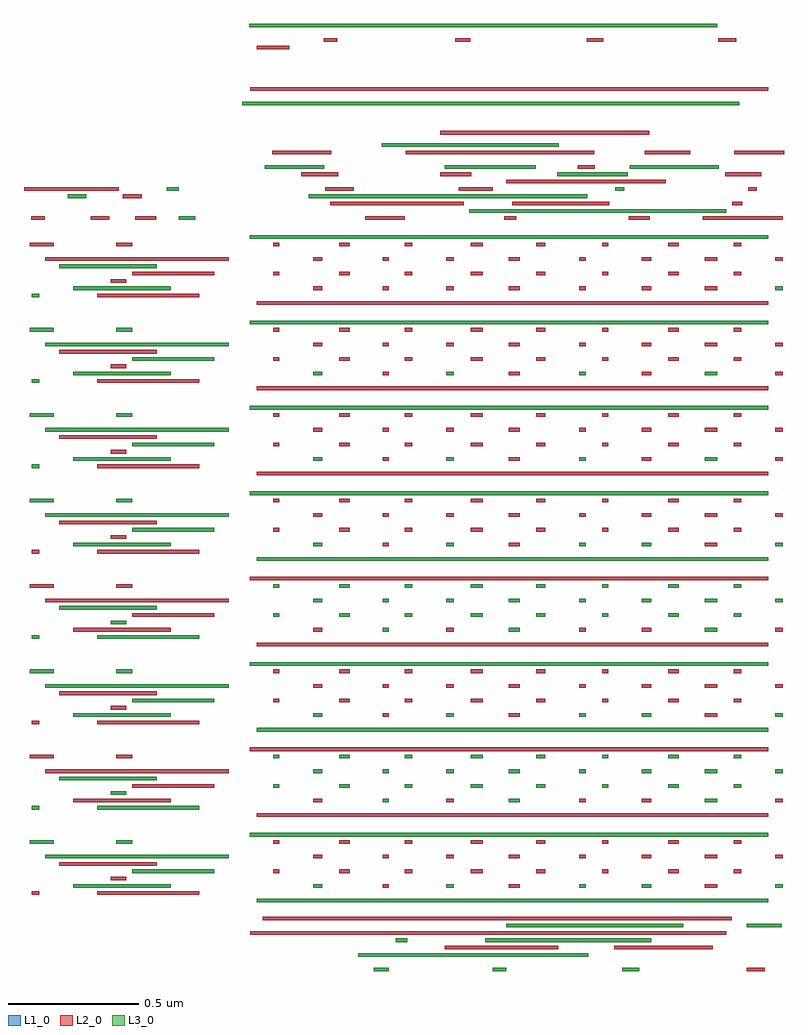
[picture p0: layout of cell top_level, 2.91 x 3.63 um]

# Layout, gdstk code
import gdstk
lib = gdstk.Library(unit=1e-6, precision=5e-10)
def R(c, l, rs):  # rectangles x0, y0, x1, y1
    for r in rs: c.add(gdstk.rectangle(r[:2], r[2:], *l))
def A(c, l, x, y, w, h, nx, ny, dx, dy):  # array of equal rectangles
    R(c, l, [(x+i*dx, y+j*dy, x+i*dx+w, y+j*dy+h) for i in range(nx) for j in range(ny)])
def P(c, l, *ps):  # polygons
    for p in ps: c.add(gdstk.Polygon(p, *l))
L1_0 = (1, 0)
L2_0 = (2, 0)
L3_0 = (3, 0)

vcell_hold_vcellr1_1r = lib.new_cell('VCELL_HOLD_VCELLR1_1R')
A(vcell_hold_vcellr1_1r, L1_0, 0.186, -0.2495, 0.02, 0.014, 4, 2, 0.252, 0.112)
A(vcell_hold_vcellr1_1r, L1_0, 0.018, -0.1935, 0.02, 0.014, 4, 2, 0.252, 0.112)
R(vcell_hold_vcellr1_1r, L1_0, [(0,-0.3055,0.906,-0.2915), (0,-0.0535,0.906,-0.0395)])

vcell_hold_vcellr4_1r = lib.new_cell('VCELL_HOLD_VCELLR4_1R')
vcell_hold_vcellr4_1r.add(gdstk.Reference(vcell_hold_vcellr1_1r, (0,-0.327)))
vcell_hold_vcellr4_1r.add(gdstk.Reference(vcell_hold_vcellr1_1r, (0,0)))

top_level = lib.new_cell('top_level')
A(top_level, L1_0, 0.101, 0.376, 0.0275, 0.014, 1, 8, 0, 0.327)
A(top_level, L1_0, 0.3525, 0.376, 0.389, 0.014, 1, 8, 0, 0.327)
A(top_level, L1_0, 0.2605, 0.404, 0.373, 0.014, 1, 8, 0, 0.327)
A(top_level, L1_0, 0.404, 0.432, 0.0595, 0.014, 1, 8, 0, 0.327)
A(top_level, L1_0, 0.486, 0.46, 0.314, 0.014, 1, 8, 0, 0.327)
A(top_level, L1_0, 0.206, 0.488, 0.374, 0.014, 1, 8, 0, 0.327)
A(top_level, L1_0, 0.152, 0.516, 0.7035, 0.014, 1, 8, 0, 0.327)
A(top_level, L1_0, 0.0925, 0.572, 0.0915, 0.014, 1, 8, 0, 0.327)
A(top_level, L1_0, 0.4245, 0.572, 0.062, 0.014, 1, 8, 0, 0.327)
R(top_level, L1_0, [(1.411,0.0835,1.468,0.0975), (1.866,0.0835,1.918,0.0975), (2.363,0.0835,2.428,0.0975), (2.839,0.0835,2.908,0.0975), (1.3515,0.1395,2.2315,0.1535), (1.682,0.1675,2.1175,0.1815), (2.3315,0.1675,2.71,0.1815), (1.495,0.1955,1.538,0.2095), (1.837,0.1955,2.474,0.2095), (0.938,0.2235,2.76,0.2375), (1.918,0.2515,2.5955,0.2655), (2.84,0.2515,2.9735,0.2655), (0.985,0.2795,2.782,0.2935), (1.914,0.348,2.016,0.362), (1.178,0.404,1.198,0.418), (1.448,0.404,1.468,0.418), (1.688,0.404,1.708,0.418), (1.928,0.404,1.97,0.418), (2.198,0.404,2.218,0.418), (2.438,0.404,2.458,0.418), (2.678,0.404,2.726,0.418), (2.948,0.404,2.968,0.418), (1.028,0.46,1.048,0.474), (1.298,0.46,1.318,0.474), (1.538,0.46,1.558,0.474), (1.782,0.46,1.828,0.474), (2.048,0.46,2.068,0.474), (2.288,0.46,2.308,0.474), (2.558,0.46,2.578,0.474), (2.798,0.46,2.818,0.474), (1.178,0.516,1.198,0.53), (1.448,0.516,1.468,0.53), (1.688,0.516,1.708,0.53), (1.928,0.516,1.97,0.53), (2.198,0.516,2.218,0.53), (2.438,0.516,2.458,0.53), (2.678,0.516,2.726,0.53), (2.948,0.516,2.968,0.53), (1.028,0.572,1.048,0.586), (1.298,0.572,1.318,0.586), (1.538,0.572,1.558,0.586), (1.782,0.572,1.828,0.586), (2.048,0.572,2.068,0.586), (2.288,0.572,2.308,0.586), (2.558,0.572,2.578,0.586), (2.798,0.572,2.818,0.586), (1.914,0.6,2.016,0.614), (1.914,0.675,2.016,0.689), (1.178,0.731,1.198,0.745), (1.448,0.731,1.468,0.745), (1.688,0.731,1.708,0.745), (1.928,0.731,1.97,0.745), (2.198,0.731,2.218,0.745), (2.438,0.731,2.458,0.745), (2.678,0.731,2.726,0.745), (2.948,0.731,2.968,0.745), (1.028,0.787,1.048,0.801), (1.298,0.787,1.318,0.801), (1.538,0.787,1.558,0.801), (1.782,0.787,1.828,0.801), (2.048,0.787,2.068,0.801), (2.288,0.787,2.308,0.801), (2.558,0.787,2.578,0.801), (2.798,0.787,2.818,0.801), (1.178,0.843,1.198,0.857), (1.448,0.843,1.468,0.857), (1.688,0.843,1.708,0.857), (1.928,0.843,1.97,0.857), (2.198,0.843,2.218,0.857), (2.438,0.843,2.458,0.857), (2.678,0.843,2.726,0.857), (2.948,0.843,2.968,0.857), (1.028,0.899,1.048,0.913), (1.298,0.899,1.318,0.913), (1.538,0.899,1.558,0.913), (1.782,0.899,1.828,0.913), (2.048,0.899,2.068,0.913), (2.288,0.899,2.308,0.913), (2.558,0.899,2.578,0.913), (2.798,0.899,2.818,0.913), (1.914,0.927,2.016,0.941), (1.914,1.002,2.016,1.016), (1.178,1.058,1.198,1.072), (1.448,1.058,1.468,1.072), (1.688,1.058,1.708,1.072), (1.928,1.058,1.97,1.072), (2.198,1.058,2.218,1.072), (2.438,1.058,2.458,1.072), (2.678,1.058,2.726,1.072), (2.948,1.058,2.968,1.072), (1.028,1.114,1.048,1.128), (1.298,1.114,1.318,1.128), (1.538,1.114,1.558,1.128), (1.782,1.114,1.828,1.128), (2.048,1.114,2.068,1.128), (2.288,1.114,2.308,1.128), (2.558,1.114,2.578,1.128), (2.798,1.114,2.818,1.128), (1.178,1.17,1.198,1.184), (1.448,1.17,1.468,1.184), (1.688,1.17,1.708,1.184), (1.928,1.17,1.97,1.184), (2.198,1.17,2.218,1.184), (2.438,1.17,2.458,1.184), (2.678,1.17,2.726,1.184), (2.948,1.17,2.968,1.184), (1.028,1.226,1.048,1.24), (1.298,1.226,1.318,1.24), (1.538,1.226,1.558,1.24), (1.782,1.226,1.828,1.24), (2.048,1.226,2.068,1.24), (2.288,1.226,2.308,1.24), (2.558,1.226,2.578,1.24), (2.798,1.226,2.818,1.24), (1.914,1.254,2.016,1.268), (1.914,1.329,2.016,1.343), (1.178,1.385,1.198,1.399), (1.448,1.385,1.468,1.399), (1.688,1.385,1.708,1.399), (1.928,1.385,1.97,1.399), (2.198,1.385,2.218,1.399), (2.438,1.385,2.458,1.399), (2.678,1.385,2.726,1.399), (2.948,1.385,2.968,1.399), (1.028,1.441,1.048,1.455), (1.298,1.441,1.318,1.455), (1.538,1.441,1.558,1.455), (1.782,1.441,1.828,1.455), (2.048,1.441,2.068,1.455), (2.288,1.441,2.308,1.455), (2.558,1.441,2.578,1.455), (2.798,1.441,2.818,1.455), (1.178,1.497,1.198,1.511), (1.448,1.497,1.468,1.511), (1.688,1.497,1.708,1.511), (1.928,1.497,1.97,1.511), (2.198,1.497,2.218,1.511), (2.438,1.497,2.458,1.511), (2.678,1.497,2.726,1.511), (2.948,1.497,2.968,1.511), (1.028,1.553,1.048,1.567), (1.298,1.553,1.318,1.567), (1.538,1.553,1.558,1.567), (1.782,1.553,1.828,1.567), (2.048,1.553,2.068,1.567), (2.288,1.553,2.308,1.567), (2.558,1.553,2.578,1.567), (2.798,1.553,2.818,1.567), (1.914,1.581,2.016,1.595), (1.914,1.656,2.016,1.67), (1.178,1.712,1.198,1.726), (1.448,1.712,1.468,1.726), (1.688,1.712,1.708,1.726), (1.928,1.712,1.97,1.726), (2.198,1.712,2.218,1.726), (2.438,1.712,2.458,1.726), (2.678,1.712,2.726,1.726), (2.948,1.712,2.968,1.726), (1.028,1.768,1.048,1.782), (1.298,1.768,1.318,1.782), (1.538,1.768,1.558,1.782), (1.782,1.768,1.828,1.782), (2.048,1.768,2.068,1.782), (2.288,1.768,2.308,1.782), (2.558,1.768,2.578,1.782), (2.798,1.768,2.818,1.782), (1.178,1.824,1.198,1.838), (1.448,1.824,1.468,1.838), (1.688,1.824,1.708,1.838), (1.928,1.824,1.97,1.838), (2.198,1.824,2.218,1.838), (2.438,1.824,2.458,1.838), (2.678,1.824,2.726,1.838), (2.948,1.824,2.968,1.838), (1.028,1.88,1.048,1.894), (1.298,1.88,1.318,1.894), (1.538,1.88,1.558,1.894), (1.782,1.88,1.828,1.894), (2.048,1.88,2.068,1.894), (2.288,1.88,2.308,1.894), (2.558,1.88,2.578,1.894), (2.798,1.88,2.818,1.894), (1.914,1.908,2.016,1.922), (1.914,1.983,2.016,1.997), (1.178,2.039,1.198,2.053), (1.448,2.039,1.468,2.053), (1.688,2.039,1.708,2.053), (1.928,2.039,1.97,2.053), (2.198,2.039,2.218,2.053), (2.438,2.039,2.458,2.053), (2.678,2.039,2.726,2.053), (2.948,2.039,2.968,2.053), (1.028,2.095,1.048,2.109), (1.298,2.095,1.318,2.109), (1.538,2.095,1.558,2.109), (1.782,2.095,1.828,2.109), (2.048,2.095,2.068,2.109), (2.288,2.095,2.308,2.109), (2.558,2.095,2.578,2.109), (2.798,2.095,2.818,2.109), (1.178,2.151,1.198,2.165), (1.448,2.151,1.468,2.165), (1.688,2.151,1.708,2.165), (1.928,2.151,1.97,2.165), (2.198,2.151,2.218,2.165), (2.438,2.151,2.458,2.165), (2.678,2.151,2.726,2.165), (2.948,2.151,2.968,2.165), (1.028,2.207,1.048,2.221), (1.298,2.207,1.318,2.221), (1.538,2.207,1.558,2.221), (1.782,2.207,1.828,2.221), (2.048,2.207,2.068,2.221), (2.288,2.207,2.308,2.221), (2.558,2.207,2.578,2.221), (2.798,2.207,2.818,2.221), (1.914,2.235,2.016,2.249), (1.914,2.31,2.016,2.324), (1.178,2.366,1.198,2.38), (1.448,2.366,1.468,2.38), (1.688,2.366,1.708,2.38), (1.928,2.366,1.97,2.38), (2.198,2.366,2.218,2.38), (2.438,2.366,2.458,2.38), (2.678,2.366,2.726,2.38), (2.948,2.366,2.968,2.38), (1.028,2.422,1.048,2.436), (1.298,2.422,1.318,2.436), (1.538,2.422,1.558,2.436), (1.782,2.422,1.828,2.436), (2.048,2.422,2.068,2.436), (2.288,2.422,2.308,2.436), (2.558,2.422,2.578,2.436), (2.798,2.422,2.818,2.436), (1.178,2.478,1.198,2.492), (1.448,2.478,1.468,2.492), (1.688,2.478,1.708,2.492), (1.928,2.478,1.97,2.492), (2.198,2.478,2.218,2.492), (2.438,2.478,2.458,2.492), (2.678,2.478,2.726,2.492), (2.948,2.478,2.968,2.492), (1.028,2.534,1.048,2.548), (1.298,2.534,1.318,2.548), (1.538,2.534,1.558,2.548), (1.782,2.534,1.828,2.548), (2.048,2.534,2.068,2.548), (2.288,2.534,2.308,2.548), (2.558,2.534,2.578,2.548), (2.798,2.534,2.818,2.548), (1.914,2.562,2.016,2.576), (1.914,2.637,2.016,2.651), (1.178,2.693,1.198,2.707), (1.448,2.693,1.468,2.707), (1.688,2.693,1.708,2.707), (1.928,2.693,1.97,2.707), (2.198,2.693,2.218,2.707), (2.438,2.693,2.458,2.707), (2.678,2.693,2.726,2.707), (2.948,2.693,2.968,2.707), (1.028,2.749,1.048,2.763), (1.298,2.749,1.318,2.763), (1.538,2.749,1.558,2.763), (1.782,2.749,1.828,2.763), (2.048,2.749,2.068,2.763), (2.288,2.749,2.308,2.763), (2.558,2.749,2.578,2.763), (2.798,2.749,2.818,2.763), (1.178,2.805,1.198,2.819), (1.448,2.805,1.468,2.819), (1.688,2.805,1.708,2.819), (1.928,2.805,1.97,2.819), (2.198,2.805,2.218,2.819), (2.438,2.805,2.458,2.819), (2.678,2.805,2.726,2.819), (2.948,2.805,2.968,2.819), (1.028,2.861,1.048,2.875), (1.298,2.861,1.318,2.875), (1.538,2.861,1.558,2.875), (1.782,2.861,1.828,2.875), (2.048,2.861,2.068,2.875), (2.288,2.861,2.308,2.875), (2.558,2.861,2.578,2.875), (2.798,2.861,2.818,2.875), (1.914,2.889,2.016,2.903), (0.0985,2.9615,0.15,2.9755), (0.326,2.9615,0.3975,2.9755), (0.4965,2.9615,0.5775,2.9755), (0.6645,2.9615,0.7275,2.9755), (1.379,2.9615,1.5295,2.9755), (1.911,2.9615,1.957,2.9755), (2.387,2.9615,2.467,2.9755), (2.671,2.9615,2.977,2.9755), (1.776,2.9895,2.7605,3.0035), (1.244,3.0175,1.755,3.0315), (1.942,3.0175,2.3125,3.0315), (2.784,3.0175,2.8225,3.0315), (0.239,3.0455,0.3085,3.0595), (0.449,3.0455,0.522,3.0595), (1.1625,3.0455,2.2275,3.0595), (0.071,3.0735,0.433,3.0875), (0.617,3.0735,0.664,3.0875), (1.2255,3.0735,1.334,3.0875), (1.7355,3.0735,1.866,3.0875), (2.3355,3.0735,2.37,3.0875), (2.8455,3.0735,2.878,3.0875), (1.919,3.1015,2.53,3.1155), (1.133,3.1295,1.274,3.1435), (1.665,3.1295,1.784,3.1435), (2.113,3.1295,2.384,3.1435), (2.757,3.1295,2.894,3.1435), (0.9925,3.1575,1.221,3.1715), (1.6825,3.1575,2.0305,3.1715), (2.1925,3.1575,2.257,3.1715), (2.3915,3.1575,2.733,3.1715), (1.0225,3.2135,1.248,3.2275), (1.5325,3.2135,2.2555,3.2275), (2.4485,3.2135,2.6235,3.2275), (2.7905,3.2135,2.982,3.2275), (1.4415,3.2415,2.1195,3.2555), (1.6645,3.2885,2.4665,3.3025), (0.9065,3.4005,2.81,3.4145), (0.9375,3.4565,2.922,3.4705), (0.963,3.6155,1.0865,3.6295), (1.219,3.6435,1.27,3.6575), (1.723,3.6435,1.78,3.6575), (2.227,3.6435,2.29,3.6575), (2.731,3.6435,2.8,3.6575), (0.9345,3.6995,2.726,3.7135)])
P(top_level, L1_0, [(1.0305,2.903),(1.0305,2.896),(1.008,2.896),(1.008,2.889),(0.9365,2.889),(0.9365,2.903)],
  [(1.0305,2.651),(1.0305,2.644),(1.008,2.644),(1.008,2.637),(0.963,2.637),(0.963,2.651)],
  [(1.0305,2.576),(1.0305,2.569),(1.008,2.569),(1.008,2.562),(0.9365,2.562),(0.9365,2.576)],
  [(1.0305,2.324),(1.0305,2.317),(1.008,2.317),(1.008,2.31),(0.963,2.31),(0.963,2.324)],
  [(1.0305,1.997),(1.0305,1.99),(1.008,1.99),(1.008,1.983),(0.963,1.983),(0.963,1.997)],
  [(1.0305,2.249),(1.0305,2.242),(1.008,2.242),(1.008,2.235),(0.9365,2.235),(0.9365,2.249)],
  [(1.0305,1.922),(1.0305,1.915),(1.008,1.915),(1.008,1.908),(0.9365,1.908),(0.9365,1.922)],
  [(1.0305,1.67),(1.0305,1.663),(1.008,1.663),(1.008,1.656),(0.963,1.656),(0.963,1.67)],
  [(1.0305,1.595),(1.0305,1.588),(1.008,1.588),(1.008,1.581),(0.9365,1.581),(0.9365,1.595)],
  [(1.0305,1.343),(1.0305,1.336),(1.008,1.336),(1.008,1.329),(0.963,1.329),(0.963,1.343)],
  [(1.0305,1.016),(1.0305,1.009),(1.008,1.009),(1.008,1.002),(0.963,1.002),(0.963,1.016)],
  [(1.0305,1.268),(1.0305,1.261),(1.008,1.261),(1.008,1.254),(0.9365,1.254),(0.9365,1.268)],
  [(1.0305,0.689),(1.0305,0.682),(1.008,0.682),(1.008,0.675),(0.963,0.675),(0.963,0.689)],
  [(1.0305,0.941),(1.0305,0.934),(1.008,0.934),(1.008,0.927),(0.9365,0.927),(0.9365,0.941)],
  [(1.0305,0.614),(1.0305,0.607),(1.008,0.607),(1.008,0.6),(0.9365,0.6),(0.9365,0.614)],
  [(1.0305,0.362),(1.0305,0.355),(1.008,0.355),(1.008,0.348),(0.963,0.348),(0.963,0.362)])
A(top_level, L2_0, 0.101, 0.376, 0.0275, 0.014, 1, 3, 0, 0.654)
A(top_level, L2_0, 0.3525, 0.376, 0.389, 0.014, 1, 3, 0, 0.654)
A(top_level, L2_0, 0.404, 0.432, 0.0595, 0.014, 1, 3, 0, 0.654)
A(top_level, L2_0, 0.206, 0.488, 0.374, 0.014, 1, 3, 0, 0.654)
A(top_level, L2_0, 0.963, 0.675, 1.959, 0.014, 1, 3, 0, 0.654)
A(top_level, L2_0, 1.178, 1.824, 0.036, 0.014, 1, 3, 0, 0.327)
A(top_level, L2_0, 1.688, 1.824, 0.03, 0.014, 1, 3, 0, 0.327)
A(top_level, L2_0, 2.198, 1.824, 0.024, 0.014, 1, 3, 0, 0.327)
A(top_level, L2_0, 2.678, 1.824, 0.048, 0.014, 1, 3, 0, 0.327)
A(top_level, L2_0, 0.3525, 2.011, 0.389, 0.014, 1, 3, 0, 0.327)
A(top_level, L2_0, 0.404, 2.067, 0.0595, 0.014, 1, 3, 0, 0.327)
R(top_level, L2_0, [(2.839,0.0835,2.908,0.0975), (1.682,0.1675,2.1175,0.1815), (2.3315,0.1675,2.71,0.1815), (0.938,0.2235,2.76,0.2375), (0.985,0.2795,2.782,0.2935), (1.446,0.404,1.468,0.418), (1.928,0.404,1.97,0.418), (2.678,0.404,2.726,0.418), (1.026,0.46,1.048,0.474), (1.278,0.46,1.318,0.474), (1.53,0.46,1.558,0.474), (1.782,0.46,1.828,0.474), (2.034,0.46,2.068,0.474), (2.286,0.46,2.308,0.474), (2.538,0.46,2.578,0.474), (2.79,0.46,2.818,0.474), (1.178,0.516,1.214,0.53), (1.446,0.516,1.468,0.53), (1.688,0.516,1.718,0.53), (1.928,0.516,1.97,0.53), (2.198,0.516,2.222,0.53), (2.438,0.516,2.474,0.53), (2.678,0.516,2.726,0.53), (2.948,0.516,2.978,0.53), (1.026,0.572,1.048,0.586), (1.278,0.572,1.318,0.586), (1.53,0.572,1.558,0.586), (1.782,0.572,1.828,0.586), (2.034,0.572,2.068,0.586), (2.286,0.572,2.308,0.586), (2.538,0.572,2.578,0.586), (2.79,0.572,2.818,0.586), (0.2605,0.731,0.6335,0.745), (1.178,0.731,1.214,0.745), (1.688,0.731,1.718,0.745), (2.198,0.731,2.222,0.745), (2.438,0.731,2.474,0.745), (2.948,0.731,2.978,0.745), (0.486,0.787,0.8,0.801), (0.152,0.843,0.8555,0.857), (0.0925,0.899,0.184,0.913), (0.4245,0.899,0.4865,0.913), (0.9365,0.927,2.922,0.941), (1.446,1.058,1.468,1.072), (1.928,1.058,1.97,1.072), (2.678,1.058,2.726,1.072), (1.026,1.114,1.048,1.128), (1.278,1.114,1.318,1.128), (1.53,1.114,1.558,1.128), (1.782,1.114,1.828,1.128), (2.034,1.114,2.068,1.128), (2.286,1.114,2.308,1.128), (2.538,1.114,2.578,1.128), (2.79,1.114,2.818,1.128), (1.178,1.17,1.214,1.184), (1.446,1.17,1.468,1.184), (1.688,1.17,1.718,1.184), (1.928,1.17,1.97,1.184), (2.198,1.17,2.222,1.184), (2.438,1.17,2.474,1.184), (2.678,1.17,2.726,1.184), (2.948,1.17,2.978,1.184), (1.026,1.226,1.048,1.24), (1.278,1.226,1.318,1.24), (1.53,1.226,1.558,1.24), (1.782,1.226,1.828,1.24), (2.034,1.226,2.068,1.24), (2.286,1.226,2.308,1.24), (2.538,1.226,2.578,1.24), (2.79,1.226,2.818,1.24), (0.2605,1.385,0.6335,1.399), (1.178,1.385,1.214,1.399), (1.688,1.385,1.718,1.399), (2.198,1.385,2.222,1.399), (2.438,1.385,2.474,1.399), (2.948,1.385,2.978,1.399), (0.486,1.441,0.8,1.455), (0.152,1.497,0.8555,1.511), (0.0925,1.553,0.184,1.567), (0.4245,1.553,0.4865,1.567), (0.9365,1.581,2.922,1.595), (1.446,1.712,1.468,1.726), (1.928,1.712,1.97,1.726), (2.678,1.712,2.726,1.726), (1.026,1.768,1.048,1.782), (1.278,1.768,1.318,1.782), (1.53,1.768,1.558,1.782), (1.782,1.768,1.828,1.782), (2.034,1.768,2.068,1.782), (2.286,1.768,2.308,1.782), (2.538,1.768,2.578,1.782), (2.79,1.768,2.818,1.782), (1.446,1.824,1.468,1.838), (1.928,1.824,1.97,1.838), (2.438,1.824,2.474,1.838), (2.948,1.824,2.978,1.838), (1.026,1.88,1.048,1.894), (1.278,1.88,1.318,1.894), (1.53,1.88,1.558,1.894), (1.782,1.88,1.828,1.894), (2.034,1.88,2.068,1.894), (2.286,1.88,2.308,1.894), (2.538,1.88,2.578,1.894), (2.79,1.88,2.818,1.894), (1.446,2.039,1.468,2.053), (1.928,2.039,1.97,2.053), (2.438,2.039,2.474,2.053), (2.948,2.039,2.978,2.053), (1.026,2.095,1.048,2.109), (1.278,2.095,1.318,2.109), (1.53,2.095,1.558,2.109), (1.782,2.095,1.828,2.109), (2.034,2.095,2.068,2.109), (2.286,2.095,2.308,2.109), (2.538,2.095,2.578,2.109), (2.79,2.095,2.818,2.109), (0.206,2.123,0.58,2.137), (1.446,2.151,1.468,2.165), (1.928,2.151,1.97,2.165), (2.438,2.151,2.474,2.165), (2.948,2.151,2.978,2.165), (1.026,2.207,1.048,2.221), (1.278,2.207,1.318,2.221), (1.53,2.207,1.558,2.221), (1.782,2.207,1.828,2.221), (2.034,2.207,2.068,2.221), (2.286,2.207,2.308,2.221), (2.538,2.207,2.578,2.221), (2.79,2.207,2.818,2.221), (0.963,2.31,2.922,2.324), (1.446,2.366,1.468,2.38), (1.928,2.366,1.97,2.38), (2.438,2.366,2.474,2.38), (2.948,2.366,2.978,2.38), (1.026,2.422,1.048,2.436), (1.278,2.422,1.318,2.436), (1.53,2.422,1.558,2.436), (1.782,2.422,1.828,2.436), (2.034,2.422,2.068,2.436), (2.286,2.422,2.308,2.436), (2.538,2.422,2.578,2.436), (2.79,2.422,2.818,2.436), (0.206,2.45,0.58,2.464), (1.446,2.478,1.468,2.492), (1.928,2.478,1.97,2.492), (2.438,2.478,2.474,2.492), (2.948,2.478,2.978,2.492), (1.026,2.534,1.048,2.548), (1.278,2.534,1.318,2.548), (1.53,2.534,1.558,2.548), (1.782,2.534,1.828,2.548), (2.034,2.534,2.068,2.548), (2.286,2.534,2.308,2.548), (2.538,2.534,2.578,2.548), (2.79,2.534,2.818,2.548), (0.963,2.637,2.922,2.651), (1.178,2.693,1.214,2.707), (1.446,2.693,1.468,2.707), (1.688,2.693,1.718,2.707), (1.928,2.693,1.97,2.707), (2.198,2.693,2.222,2.707), (2.438,2.693,2.474,2.707), (2.678,2.693,2.726,2.707), (0.486,2.749,0.8,2.763), (1.026,2.749,1.048,2.763), (1.278,2.749,1.318,2.763), (1.53,2.749,1.558,2.763), (1.782,2.749,1.828,2.763), (2.034,2.749,2.068,2.763), (2.286,2.749,2.308,2.763), (2.538,2.749,2.578,2.763), (2.79,2.749,2.818,2.763), (0.152,2.805,0.8555,2.819), (1.178,2.805,1.214,2.819), (1.446,2.805,1.468,2.819), (1.688,2.805,1.718,2.819), (1.928,2.805,1.97,2.819), (2.198,2.805,2.222,2.819), (2.438,2.805,2.474,2.819), (2.678,2.805,2.726,2.819), (2.948,2.805,2.978,2.819), (0.0925,2.861,0.184,2.875), (0.4245,2.861,0.4865,2.875), (1.026,2.861,1.048,2.875), (1.278,2.861,1.318,2.875), (1.53,2.861,1.558,2.875), (1.782,2.861,1.828,2.875), (2.034,2.861,2.068,2.875), (2.286,2.861,2.308,2.875), (2.538,2.861,2.578,2.875), (2.79,2.861,2.818,2.875), (0.0985,2.9615,0.15,2.9755), (0.326,2.9615,0.3975,2.9755), (0.4965,2.9615,0.5775,2.9755), (1.379,2.9615,1.5295,2.9755), (1.911,2.9615,1.957,2.9755), (2.387,2.9615,2.467,2.9755), (2.671,2.9615,2.977,2.9755), (1.244,3.0175,1.755,3.0315), (1.942,3.0175,2.3125,3.0315), (2.784,3.0175,2.8225,3.0315), (0.449,3.0455,0.522,3.0595), (0.071,3.0735,0.433,3.0875), (1.2255,3.0735,1.334,3.0875), (1.7355,3.0735,1.866,3.0875), (2.8455,3.0735,2.878,3.0875), (1.919,3.1015,2.53,3.1155), (1.133,3.1295,1.274,3.1435), (1.665,3.1295,1.784,3.1435), (2.757,3.1295,2.894,3.1435), (2.1925,3.1575,2.257,3.1715), (1.0225,3.2135,1.248,3.2275), (1.5325,3.2135,2.2555,3.2275), (2.4485,3.2135,2.6235,3.2275), (2.7905,3.2135,2.982,3.2275), (1.6645,3.2885,2.4665,3.3025), (0.9375,3.4565,2.922,3.4705), (0.963,3.6155,1.0865,3.6295), (1.219,3.6435,1.27,3.6575), (1.723,3.6435,1.78,3.6575), (2.227,3.6435,2.29,3.6575), (2.731,3.6435,2.8,3.6575)])
A(top_level, L3_0, 0.963, 0.348, 1.959, 0.014, 1, 3, 0, 0.654)
A(top_level, L3_0, 0.2605, 0.404, 0.373, 0.014, 1, 3, 0, 0.654)
A(top_level, L3_0, 0.486, 0.46, 0.314, 0.014, 1, 3, 0, 0.654)
A(top_level, L3_0, 0.152, 0.516, 0.7035, 0.014, 1, 3, 0, 0.654)
A(top_level, L3_0, 0.0925, 0.572, 0.0915, 0.014, 1, 3, 0, 0.654)
A(top_level, L3_0, 0.4245, 0.572, 0.062, 0.014, 1, 3, 0, 0.654)
A(top_level, L3_0, 0.9365, 0.6, 1.9855, 0.014, 1, 3, 0, 0.654)
A(top_level, L3_0, 0.101, 0.703, 0.0275, 0.014, 1, 3, 0, 0.654)
A(top_level, L3_0, 1.178, 1.712, 0.036, 0.014, 1, 3, 0, 0.327)
A(top_level, L3_0, 1.688, 1.712, 0.03, 0.014, 1, 3, 0, 0.327)
A(top_level, L3_0, 2.198, 1.712, 0.024, 0.014, 1, 3, 0, 0.327)
A(top_level, L3_0, 0.2605, 2.039, 0.373, 0.014, 1, 3, 0, 0.327)
A(top_level, L3_0, 0.9365, 2.235, 1.9855, 0.014, 1, 3, 0, 0.327)
R(top_level, L3_0, [(1.411,0.0835,1.468,0.0975), (1.866,0.0835,1.918,0.0975), (2.363,0.0835,2.428,0.0975), (1.3515,0.1395,2.2315,0.1535), (1.495,0.1955,1.538,0.2095), (1.837,0.1955,2.474,0.2095), (1.918,0.2515,2.5955,0.2655), (2.84,0.2515,2.9735,0.2655), (1.178,0.404,1.214,0.418), (1.688,0.404,1.718,0.418), (2.198,0.404,2.222,0.418), (2.438,0.404,2.474,0.418), (2.948,0.404,2.978,0.418), (0.3525,0.703,0.7415,0.717), (1.446,0.731,1.468,0.745), (1.928,0.731,1.97,0.745), (2.678,0.731,2.726,0.745), (0.404,0.759,0.4635,0.773), (1.026,0.787,1.048,0.801), (1.278,0.787,1.318,0.801), (1.53,0.787,1.558,0.801), (1.782,0.787,1.828,0.801), (2.034,0.787,2.068,0.801), (2.286,0.787,2.308,0.801), (2.538,0.787,2.578,0.801), (2.79,0.787,2.818,0.801), (0.206,0.815,0.58,0.829), (1.178,0.843,1.214,0.857), (1.446,0.843,1.468,0.857), (1.688,0.843,1.718,0.857), (1.928,0.843,1.97,0.857), (2.198,0.843,2.222,0.857), (2.438,0.843,2.474,0.857), (2.678,0.843,2.726,0.857), (2.948,0.843,2.978,0.857), (1.026,0.899,1.048,0.913), (1.278,0.899,1.318,0.913), (1.53,0.899,1.558,0.913), (1.782,0.899,1.828,0.913), (2.034,0.899,2.068,0.913), (2.286,0.899,2.308,0.913), (2.538,0.899,2.578,0.913), (2.79,0.899,2.818,0.913), (1.178,1.058,1.214,1.072), (1.688,1.058,1.718,1.072), (2.198,1.058,2.222,1.072), (2.438,1.058,2.474,1.072), (2.948,1.058,2.978,1.072), (0.3525,1.357,0.7415,1.371), (1.446,1.385,1.468,1.399), (1.928,1.385,1.97,1.399), (2.678,1.385,2.726,1.399), (0.404,1.413,0.4635,1.427), (1.026,1.441,1.048,1.455), (1.278,1.441,1.318,1.455), (1.53,1.441,1.558,1.455), (1.782,1.441,1.828,1.455), (2.034,1.441,2.068,1.455), (2.286,1.441,2.308,1.455), (2.538,1.441,2.578,1.455), (2.79,1.441,2.818,1.455), (0.206,1.469,0.58,1.483), (1.178,1.497,1.214,1.511), (1.446,1.497,1.468,1.511), (1.688,1.497,1.718,1.511), (1.928,1.497,1.97,1.511), (2.198,1.497,2.222,1.511), (2.438,1.497,2.474,1.511), (2.678,1.497,2.726,1.511), (2.948,1.497,2.978,1.511), (1.026,1.553,1.048,1.567), (1.278,1.553,1.318,1.567), (1.53,1.553,1.558,1.567), (1.782,1.553,1.828,1.567), (2.034,1.553,2.068,1.567), (2.286,1.553,2.308,1.567), (2.538,1.553,2.578,1.567), (2.79,1.553,2.818,1.567), (2.438,1.712,2.474,1.726), (2.948,1.712,2.978,1.726), (2.678,2.039,2.726,2.053), (0.486,2.095,0.8,2.109), (0.152,2.151,0.8555,2.165), (0.0925,2.207,0.184,2.221), (0.4245,2.207,0.4865,2.221), (0.101,2.338,0.1285,2.352), (2.678,2.366,2.726,2.38), (0.486,2.422,0.8,2.436), (0.152,2.478,0.8555,2.492), (0.0925,2.534,0.184,2.548), (0.4245,2.534,0.4865,2.548), (0.101,2.665,0.1285,2.679), (2.948,2.693,2.978,2.707), (0.206,2.777,0.58,2.791), (0.6645,2.9615,0.7275,2.9755), (1.776,2.9895,2.7605,3.0035), (0.239,3.0455,0.3085,3.0595), (1.1625,3.0455,2.2275,3.0595), (0.617,3.0735,0.664,3.0875), (2.3355,3.0735,2.37,3.0875), (2.113,3.1295,2.384,3.1435), (0.9925,3.1575,1.221,3.1715), (1.6825,3.1575,2.0305,3.1715), (2.3915,3.1575,2.733,3.1715), (1.4415,3.2415,2.1195,3.2555), (0.9065,3.4005,2.81,3.4145), (0.9345,3.6995,2.726,3.7135)])
top_level.add(gdstk.Reference(vcell_hold_vcellr4_1r, (1.008,0.9805)))
top_level.add(gdstk.Reference(vcell_hold_vcellr4_1r, (2.016,0.9805)))
top_level.add(gdstk.Reference(vcell_hold_vcellr4_1r, (1.008,1.6345)))
top_level.add(gdstk.Reference(vcell_hold_vcellr4_1r, (1.008,2.2885)))
top_level.add(gdstk.Reference(vcell_hold_vcellr4_1r, (2.016,1.6345)))
top_level.add(gdstk.Reference(vcell_hold_vcellr4_1r, (2.016,2.2885)))
top_level.add(gdstk.Reference(vcell_hold_vcellr4_1r, (1.008,2.9425)))
top_level.add(gdstk.Reference(vcell_hold_vcellr4_1r, (2.016,2.9425)))

lib.write_gds('top_level.gds')
